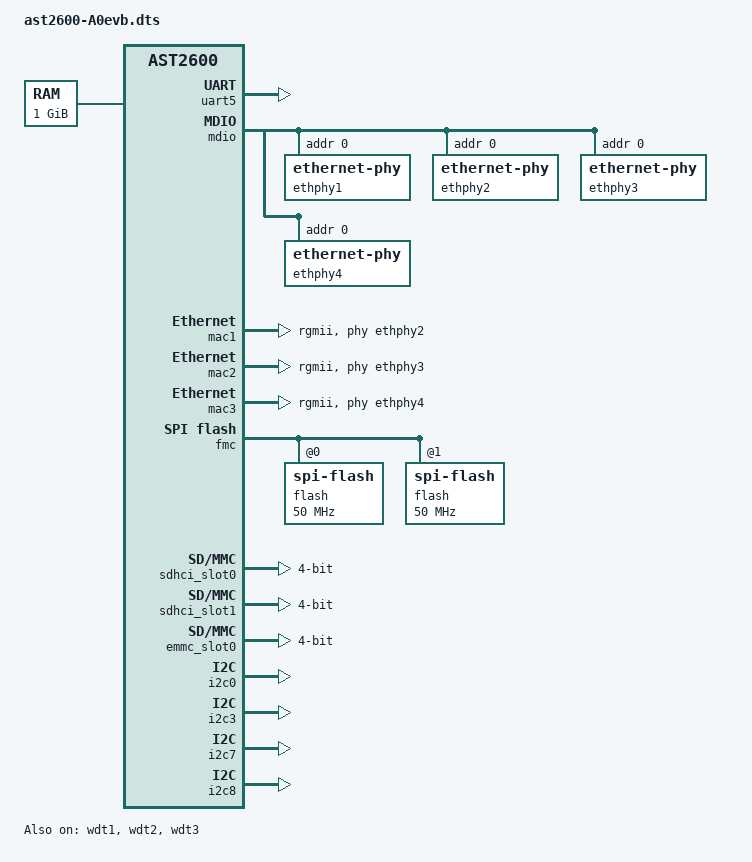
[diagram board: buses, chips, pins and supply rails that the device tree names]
/dts-v1/;

#include "ast2600-u-boot.dtsi"

/ {
	memory {
		device_type = "memory";
		reg = <0x80000000 0x40000000>;
	};

	chosen {
		stdout-path = &uart5;
	};

	aliases {
		spi0 = &fmc;
		ethernet0 = &mac1;
		ethernet1 = &mac2;
		ethernet2 = &mac3;
	};
};

&uart5 {
	u-boot,dm-pre-reloc;
	status = "okay";
};

&sdrammc {
	clock-frequency = <400000000>;
};

&wdt1 {
	u-boot,dm-pre-reloc;
	status = "okay";
};

&wdt2 {
	u-boot,dm-pre-reloc;
	status = "okay";
};

&wdt3 {
	u-boot,dm-pre-reloc;
	status = "okay";
};

&mdio {
	status = "okay";
	#address-cells = <1>;
	#size-cells = <0>;
	ethphy1: ethernet-phy@1 {
		reg = <0>;
	};

	ethphy2: ethernet-phy@2 {
		reg = <0>;
	};

	ethphy3: ethernet-phy@3 {
		reg = <0>;
	};

	ethphy4: ethernet-phy@4 {
		reg = <0>;
	};
};


&mac1 {
	status = "okay";
	phy-mode = "rgmii";
	phy-handle = <&ethphy2>;
	pinctrl-names = "default";
	pinctrl-0 = <&pinctrl_rgmii2_default &pinctrl_mac2link_default &pinctrl_mdio2_default>;
};

&mac2 {
	status = "okay";
	phy-mode = "rgmii";
	phy-handle = <&ethphy3>;
	pinctrl-names = "default";
	pinctrl-0 = <&pinctrl_rgmii3_default &pinctrl_mac3link_default &pinctrl_mdio3_default>;	
};

&mac3 {
	status = "okay";
	phy-mode = "rgmii";
	phy-handle = <&ethphy4>;
	pinctrl-names = "default";
	pinctrl-0 = <&pinctrl_rgmii4_default &pinctrl_mac4link_default &pinctrl_mdio4_default>;	
};

&fmc {
	status = "okay";
	flash@0 {
		compatible = "spi-flash", "sst,w25q256";
		status = "okay";
		spi-max-frequency = <50000000>;
		spi-tx-bus-width = <2>;
		spi-rx-bus-width = <2>;
	};

	flash@1 {
                compatible = "spi-flash", "sst,w25q256";
                status = "okay";
                spi-max-frequency = <50000000>;
                spi-tx-bus-width = <2>;
                spi-rx-bus-width = <2>;
        };
};

&sdhci_slot0 {
	status = "okay";
	bus-width = <4>;
	pwr-gpios = <&gpio0 ASPEED_GPIO(V, 0) GPIO_ACTIVE_HIGH>;
	pwr-sw-gpios = <&gpio0 ASPEED_GPIO(V, 1) GPIO_ACTIVE_HIGH>;
	pinctrl-names = "default";
	pinctrl-0 = <&pinctrl_sd1_default>;
};

&sdhci_slot1 {
	status = "okay";
	bus-width = <4>;
	pwr-gpios = <&gpio0 ASPEED_GPIO(V, 2) GPIO_ACTIVE_HIGH>;
	pwr-sw-gpios = <&gpio0 ASPEED_GPIO(V, 3) GPIO_ACTIVE_HIGH>;
	pinctrl-names = "default";
	pinctrl-0 = <&pinctrl_sd2_default>;
};


&emmc_slot0 {
	status = "okay";
	bus-width = <4>;
	pinctrl-names = "default";
	pinctrl-0 = <&pinctrl_emmc_default>;
};

&i2c0 {
        status = "okay";
	pinctrl-names = "default";
	pinctrl-0 = <&pinctrl_i2c1_default>;	
};

&i2c3 {
        status = "okay";
	pinctrl-names = "default";
	pinctrl-0 = <&pinctrl_i2c4_default>;
};

&i2c7 {
        status = "okay";
	pinctrl-names = "default";
	pinctrl-0 = <&pinctrl_i2c8_default>;
};

&i2c8 {
        status = "okay";
        pinctrl-names = "default";
        pinctrl-0 = <&pinctrl_i2c9_default>;
};

